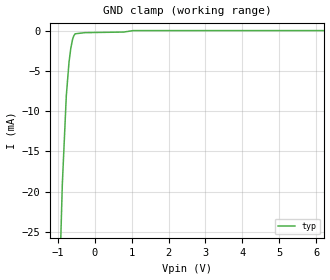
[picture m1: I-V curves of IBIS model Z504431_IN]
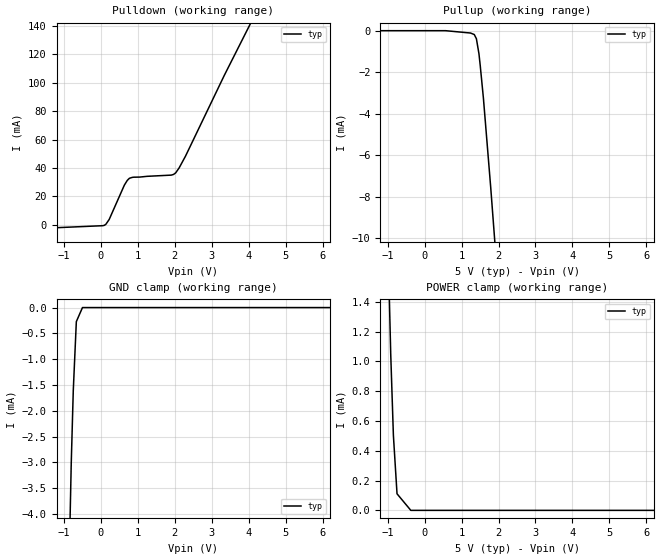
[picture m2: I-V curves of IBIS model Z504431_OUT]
| YOU ARE ONLY AUTHORIZED TO USE THIS SOFTWARE
| ACCORDING TO LICENSOR'S LICENSE RESTRICTIONS.
[IBIS Ver] 3.1
[File Name] sn54ls279j.ibs
[File Rev] 2.0
[Source] Measured and created by ICX Technology
[Date] Friday 7/14/00 9:08:14 AM
[Copyright]
| (C) COPYRIGHT 1993-2000
| MENTOR GRAPHICS CORPORATION
| ICX STANDARD LIBRARY, ICX PROJECT MODELING,
| ICX CUSTOM MODELING, ICX VENDOR MODEL
| ALL RIGHTS RESERVED.
| THE FOLLOWING ARE TRADEMARKS OR SERVICE MARKS OF
| MENTOR GRAPHICS CORPORATION:ICX (R), ICX STANDARD
| LIBRARY(R), ICX PROJECT MODELING(R), ICX CUSTOM
| MODELING(R), qualityIBIS(TM), MODELVIEWER(TM),
| AND MODELEDITOR(TM)
| ALL COPIES OF SOFTWARE, INCLUDING BUT NOT LIMITED TO
| ANY MODIFICATIONS, ENHANCEMENTS OR DERIVATIVE WORKS,
| MUST CONTAIN ALL MENTOR GRAPHICS CORPORATION'S
| NOTICES AND LEGENDS, INCLUDING THOSE EMBEDDED IN
| SOFTWARE AND THOSE AFFIXED TO SOFTWARE MEDIUM
| AND CONTAINER, AS RECEIVED FROM MENTOR GRAPHICS
| CORPORATION.
|  ZAP Model Builder 2.7
[Component] SN54LS279J
[Manufacturer] OnSemiconductor
[Package]
| variable   typ   min   max
R_pkg  .212ohms NA NA
L_pkg  4.758nH NA NA
C_pkg  1.944pF NA NA
[Pin] signal_name  model_name  R_pin  L_pin C_pin
1 _R1 Z504431_IN .224 7.258n 2.683p
2 _S0 Z504431_IN .216 5.258n 2.19p
3 _S1 Z504431_IN .208 3.758n 1.697p
4 Q1 Z504431_OUT .2 2.758n 1.204p
5 _R2 Z504431_IN .2 2.758n 1.204p
6 _S2 Z504431_IN .208 3.758n 1.697p
7 Q2 Z504431_OUT .216 5.258n 2.19p
8 GND GND .224 7.258n 2.683p
9 Q1 Z504431_OUT .224 7.258n 2.683p
10 _R1 Z504431_IN .216 5.258n 2.19p
11 _S0 Z504431_IN .208 3.758n 1.697p
12 _S1 Z504431_IN .2 2.758n 1.204p
13 Q2 Z504431_OUT .2 2.758n 1.204p
14 _R2 Z504431_IN .208 3.758n 1.697p
15 _S2 Z504431_IN .216 5.258n 2.19p
16 VCC POWER .224 7.258n 2.683p
| Models and submodels in the file (2): Z504431_IN (Input), Z504431_OUT (Output)
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| (C) COPYRIGHT 1993-2000
| MENTOR GRAPHICS CORPORATION
| ICX STANDARD LIBRARY, ICX PROJECT MODELING,
| ICX CUSTOM MODELING, ICX VENDOR MODEL
| ALL RIGHTS RESERVED.
| THE FOLLOWING ARE TRADEMARKS OR SERVICE MARKS OF
| MENTOR GRAPHICS CORPORATION:ICX (R), ICX STANDARD
| LIBRARY(R), ICX PROJECT MODELING(R), ICX CUSTOM
| MODELING(R), qualityIBIS(TM), MODELVIEWER(TM),
| AND MODELEDITOR(TM)
| ALL COPIES OF SOFTWARE, INCLUDING BUT NOT LIMITED TO
| ANY MODIFICATIONS, ENHANCEMENTS OR DERIVATIVE WORKS,
| MUST CONTAIN ALL MENTOR GRAPHICS CORPORATION'S
| NOTICES AND LEGENDS, INCLUDING THOSE EMBEDDED IN
| SOFTWARE AND THOSE AFFIXED TO SOFTWARE MEDIUM
| AND CONTAINER, AS RECEIVED FROM MENTOR GRAPHICS
| CORPORATION.
| Model Application Version 1.89 2/18/99.
[Model] Z504431_IN
Model_type Input
Vinl = 800.0mV
Vinh = 2.000V
C_comp 4.000pF NA NA
| variable typ   min   max
[Voltage Range] 5.000V NA NA
[GND Clamp Reference] 0.000V NA NA
[POWER Clamp Reference] 5.000V NA NA
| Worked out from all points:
|   GND clamp passes 1 mA (typ) near -0.59 V on its own axis
[GND Clamp]
-5V       -684.7mA   NA         NA
-874mV    -19.11mA   NA         NA
-766.3mV  -8.087mA   NA         NA
-691.5mV  -3.847mA   NA         NA
-644.5mV  -2.205mA   NA         NA
-598.1mV  -1.096mA   NA         NA
-563.2mV  -639.4uA   NA         NA
-527.3mV  -392.5uA   NA         NA
-263.7mV  -250.1uA   NA         NA
789.4mV   -174.7uA   NA         NA
1.045V    6.019uA    NA         NA
10V       8.323uA    NA         NA
[POWER Clamp]
-5V       0A         NA         NA
10V       0A         NA         NA
| (C) COPYRIGHT 1993-2000
| MENTOR GRAPHICS CORPORATION
| ICX STANDARD LIBRARY, ICX PROJECT MODELING,
| ICX CUSTOM MODELING, ICX VENDOR MODEL
| ALL RIGHTS RESERVED.
| THE FOLLOWING ARE TRADEMARKS OR SERVICE MARKS OF
| MENTOR GRAPHICS CORPORATION:ICX (R), ICX STANDARD
| LIBRARY(R), ICX PROJECT MODELING(R), ICX CUSTOM
| MODELING(R), qualityIBIS(TM), MODELVIEWER(TM),
| AND MODELEDITOR(TM)
| ALL COPIES OF SOFTWARE, INCLUDING BUT NOT LIMITED TO
| ANY MODIFICATIONS, ENHANCEMENTS OR DERIVATIVE WORKS,
| MUST CONTAIN ALL MENTOR GRAPHICS CORPORATION'S
| NOTICES AND LEGENDS, INCLUDING THOSE EMBEDDED IN
| SOFTWARE AND THOSE AFFIXED TO SOFTWARE MEDIUM
| AND CONTAINER, AS RECEIVED FROM MENTOR GRAPHICS
| CORPORATION.
| Model Application Version 1.89 2/18/99.
[Model] Z504431_OUT
Model_type Output
Vref=5.000V
Rref=2.000kohms
Cref=15.00pF
Vmeas=1.300V
C_comp 8.000pF NA NA
| variable typ   min   max
[Voltage Range] 5.000V NA NA
[POWER Clamp Reference] 5.000V NA NA
[Pullup Reference] 5.000V NA NA
[Pulldown Reference] 0.000V NA NA
[GND Clamp Reference] 0.000V NA NA
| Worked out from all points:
|   slope of the pulldown table from 0 to 0.75 V, typ, clamps not added: 22.9 ohm
|   slope of the pullup table from 0 to 0.75 V, typ, clamps not added: 24.3 kohm
|   GND clamp passes 1 mA (typ) near -0.71 V on its own axis
|   POWER clamp passes 1 mA (typ) near -0.91 V on its own axis
[GND Clamp]
-5V       -280.4mA   NA         NA
-1.279V   -81.66mA   NA         NA
-1.162V   -76.69mA   NA         NA
-1.125V   -74mA      NA         NA
-1.093V   -51.32mA   NA         NA
-1.089V   -13.4mA    NA         NA
-1.015V   -10.26mA   NA         NA
-802mV    -3.024mA   NA         NA
-747mV    -1.614mA   NA         NA
-664.1mV  -272.4uA   NA         NA
-498.1mV  0A         NA         NA
10V       0A         NA         NA
[Pulldown]
-5V       -6.234mA   NA         NA
87.85mV   -310uA     NA         NA
131.8mV   356.1uA    NA         NA
224.7mV   3.839mA    NA         NA
635.3mV   27.98mA    NA         NA
771.5mV   32.79mA    NA         NA
1.904V    35.02mA    NA         NA
2.024V    36.61mA    NA         NA
2.118V    40.11mA    NA         NA
2.29V     48.36mA    NA         NA
3.341V    105.2mA    NA         NA
10V       447.6mA    NA         NA
[Pullup]
-5V       16.36uA    NA         NA
566mV     16.36uA    NA         NA
1.242V    -97.04uA   NA         NA
1.343V    -168.7uA   NA         NA
1.401V    -372uA     NA         NA
1.47V     -1.096mA   NA         NA
1.504V    -1.652mA   NA         NA
1.591V    -3.245mA   NA         NA
1.787V    -7.513mA   NA         NA
10V       -200.9mA   NA         NA
[POWER Clamp]
-5V       50.31mA    NA         NA
-1.011V   1.988mA    NA         NA
-917mV    1.047mA    NA         NA
-845mV    503.6uA    NA         NA
-747mV    111.3uA    NA         NA
-373.5mV  0A         NA         NA
10V       0A         NA         NA
[Ramp]
| variable typ min max
dV/dt_r 1.898/15.43n NA NA
dV/dt_f 1.898/7.773n NA NA
R_load = 500.0Ohms
